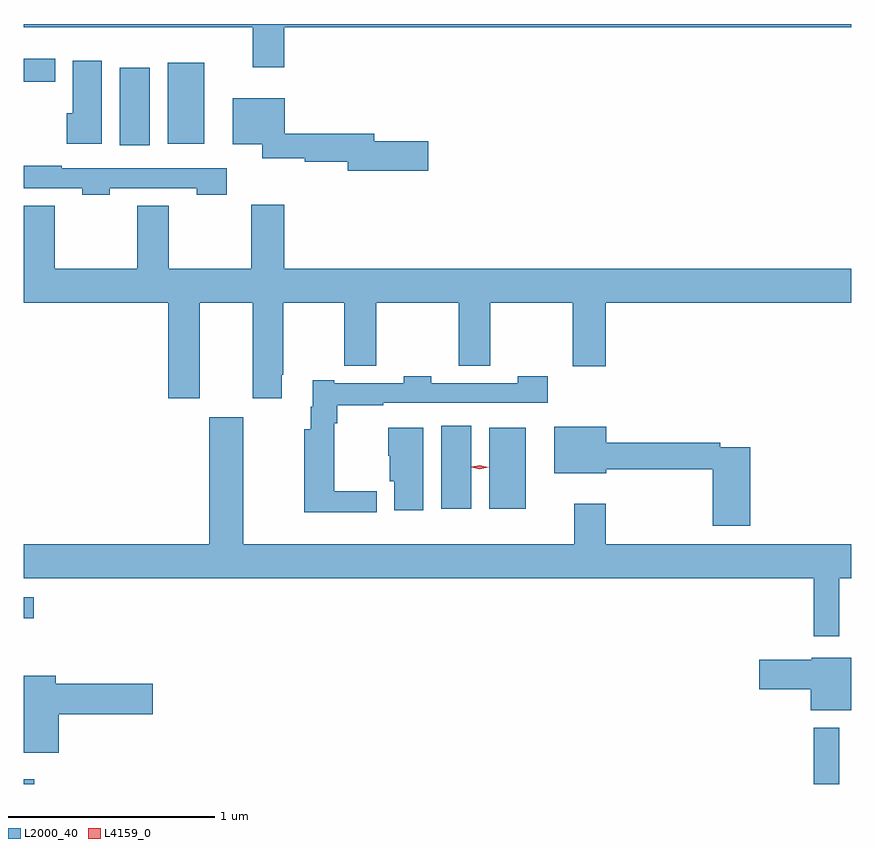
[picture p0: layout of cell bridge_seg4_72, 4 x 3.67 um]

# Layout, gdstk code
import gdstk
lib = gdstk.Library(unit=1e-6, precision=1e-09)
def R(c, l, rs):  # rectangles x0, y0, x1, y1
    for r in rs: c.add(gdstk.rectangle(r[:2], r[2:], *l))
def P(c, l, *ps):  # polygons
    for p in ps: c.add(gdstk.Polygon(p, *l))
L2000_40 = (2000, 40)
L4159_0 = (4159, 0)

bridge_seg4_72 = lib.new_cell('bridge_seg4_72')
R(bridge_seg4_72, L2000_40, [(566.93,829.125,566.981,829.147), (570.75,829.125,570.871,829.396), (566.93,829.927,566.977,830.028), (568.949,830.456,569.092,830.857), (569.18,830.456,569.356,830.848), (567.395,832.212,567.538,832.588), (567.626,832.22,567.802,832.612), (566.93,832.521,567.082,832.63)])
P(bridge_seg4_72, L2000_40, [(568.19,832.784),(570.93,832.784),(570.93,832.799),(566.93,832.799),(566.93,832.784),(568.037,832.784),(568.037,832.59),(568.19,832.59)],
  [(567.307,832.621),(567.167,832.621),(567.167,832.368),(567.137,832.368),(567.137,832.22),(567.307,832.22)],
  [(568.885,832.232),(568.624,832.232),(568.624,832.268),(568.192,832.268),(568.192,832.441),(567.941,832.441),(567.941,832.217),(568.082,832.217),(568.082,832.15),(568.288,832.15),(568.288,832.132),(568.496,832.132),(568.496,832.09),(568.885,832.09)],
  [(567.345,832.005),(567.765,832.005),(567.765,831.973),(567.91,831.973),(567.91,832.101),(567.113,832.101),(567.113,832.114),(566.93,832.114),(566.93,832.005),(567.213,832.005),(567.213,831.973),(567.345,831.973)],
  [(567.781,831.452),(568.037,831.452),(568.037,830.991),(568.177,830.991),(568.177,831.103),(568.185,831.103),(568.185,831.452),(568.48,831.452),(568.48,831.148),(568.634,831.148),(568.634,831.452),(569.032,831.452),(569.032,831.148),(569.186,831.148),(569.186,831.452),(569.584,831.452),(569.584,831.144),(569.744,831.144),(569.744,831.452),(570.93,831.452),(570.93,831.616),(568.19,831.616),(568.19,831.925),(568.03,831.925),(568.03,831.616),(567.632,831.616),(567.632,831.92),(567.478,831.92),(567.478,831.616),(567.08,831.616),(567.08,831.92),(566.93,831.92),(566.93,831.452),(567.629,831.452),(567.629,830.991),(567.781,830.991)],
  [(568.636,830.54),(568.43,830.54),(568.43,830.87),(568.445,830.87),(568.445,830.955),(568.667,830.955),(568.667,830.967),(569.464,830.967),(569.464,831.096),(569.319,831.096),(569.319,831.063),(568.899,831.063),(568.899,831.096),(568.767,831.096),(568.767,831.063),(568.432,831.063),(568.432,831.076),(568.328,831.076),(568.328,830.948),(568.317,830.948),(568.317,830.839),(568.285,830.839),(568.285,830.438),(568.636,830.438)],
  [(570.871,830.12),(570.93,830.12),(570.93,830.284),(569.744,830.284),(569.744,830.479),(569.591,830.479),(569.591,830.284),(567.991,830.284),(567.991,830.899),(567.827,830.899),(567.827,830.284),(566.93,830.284),(566.93,830.12),(570.75,830.12),(570.75,829.839),(570.871,829.839)],
  [(570.443,830.754),(570.296,830.754),(570.296,830.774),(569.746,830.774),(569.746,830.851),(569.495,830.851),(569.495,830.627),(569.746,830.627),(569.746,830.646),(570.26,830.646),(570.26,830.373),(570.443,830.373)],
  [(568.861,830.848),(568.691,830.848),(568.691,830.712),(568.7,830.712),(568.7,830.589),(568.721,830.589),(568.721,830.448),(568.861,830.448)],
  [(570.93,829.735),(570.738,829.735),(570.738,829.725),(570.486,829.725),(570.486,829.583),(570.734,829.583),(570.734,829.481),(570.93,829.481)],
  [(567.098,829.463),(567.553,829.463),(567.553,829.61),(567.085,829.61),(567.085,829.648),(566.93,829.648),(566.93,829.275),(567.098,829.275)])
P(bridge_seg4_72, L4159_0, [(569.135,830.647),(569.096,830.657),(569.095,830.657),(569.096,830.658),(569.135,830.667),(569.175,830.657),(569.176,830.657),(569.175,830.657)])

lib.write_gds('bridge_seg4_72.gds')
